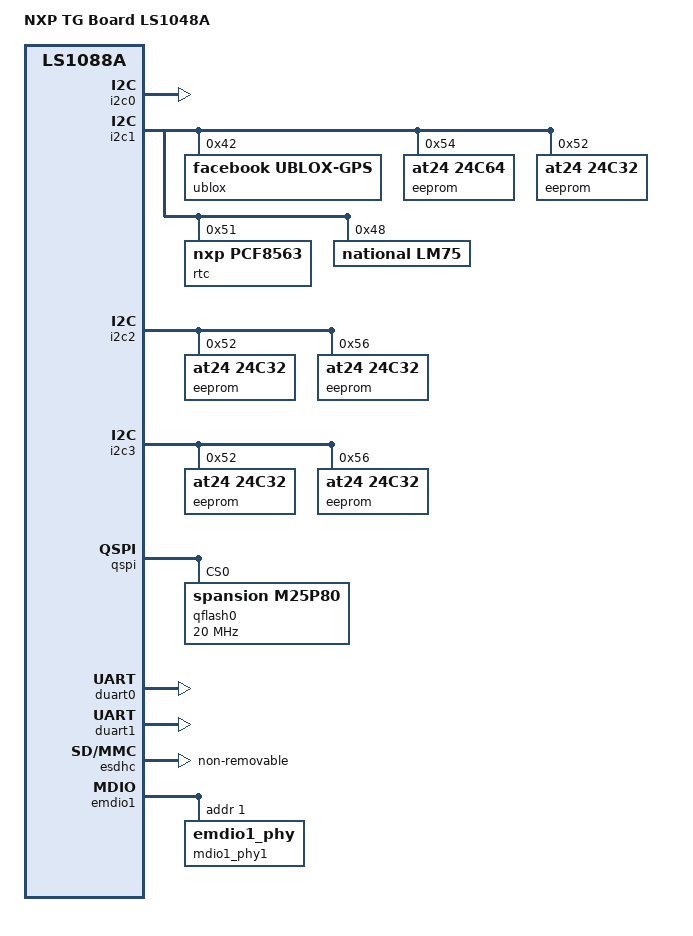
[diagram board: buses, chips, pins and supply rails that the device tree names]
/*
 * Device Tree file for NXP LS1088A RDB Board.
 *
 * Copyright 2017 NXP
 *
 * Harninder Rai <harninder.rai@nxp.com>
 *
 * This file is dual-licensed: you can use it either under the terms
 * of the GPLv2 or the X11 license, at your option. Note that this dual
 * licensing only applies to this file, and not this project as a
 * whole.
 *
 *  a) This library is free software; you can redistribute it and/or
 *     modify it under the terms of the GNU General Public License as
 *     published by the Free Software Foundation; either version 2 of the
 *     License, or (at your option) any later version.
 *
 *     This library is distributed in the hope that it will be useful,
 *     but WITHOUT ANY WARRANTY; without even the implied warranty of
 *     MERCHANTABILITY or FITNESS FOR A PARTICULAR PURPOSE.  See the
 *     GNU General Public License for more details.
 *
 * Or, alternatively,
 *
 *  b) Permission is hereby granted, free of charge, to any person
 *     obtaining a copy of this software and associated documentation
 *     files (the "Software"), to deal in the Software without
 *     restriction, including without limitation the rights to use,
 *     copy, modify, merge, publish, distribute, sublicense, and/or
 *     sell copies of the Software, and to permit persons to whom the
 *     Software is furnished to do so, subject to the following
 *     conditions:
 *
 *     The above copyright notice and this permission notice shall be
 *     included in all copies or substantial portions of the Software.
 *
 *     THE SOFTWARE IS PROVIDED "AS IS", WITHOUT WARRANTY OF ANY KIND,
 *     EXPRESS OR IMPLIED, INCLUDING BUT NOT LIMITED TO THE WARRANTIES
 *     OF MERCHANTABILITY, FITNESS FOR A PARTICULAR PURPOSE AND
 *     NONINFRINGEMENT. IN NO EVENT SHALL THE AUTHORS OR COPYRIGHT
 *     HOLDERS BE LIABLE FOR ANY CLAIM, DAMAGES OR OTHER LIABILITY,
 *     WHETHER IN AN ACTION OF CONTRACT, TORT OR OTHERWISE, ARISING
 *     FROM, OUT OF OR IN CONNECTION WITH THE SOFTWARE OR THE USE OR
 *     OTHER DEALINGS IN THE SOFTWARE.
 */

/dts-v1/;

#include "fsl-ls1048a.dtsi"

/ {
	model = "NXP TG Board LS1048A";
	compatible = "fsl,ls1088a-rdb", "fsl,ls1088a";

	chosen {
		bootargs = "iommu.passthrough=1 default_hugepagesz=2m hugepagesz=2m hugepages=512 pcie_aspm=off cma=512M crashkernel=32M@3G ";
		eeprom = "/sys/bus/nvmem/devices/1-00540/nvmem" ;
		bb1_eeprom = "/sys/bus/i2c/devices/1-0052/eeprom";
		bb2_eeprom = "/sys/bus/i2c/devices/2-0052/eeprom";
		bb3_eeprom = "/sys/bus/i2c/devices/3-0052/eeprom";
		bb4_eeprom = "/sys/bus/i2c/devices/3-0052/eeprom";
		sec2_eeprom = "/sys/bus/i2c/devices/2-0056/eeprom";
		sec3_eeprom = "/sys/bus/i2c/devices/3-0056/eeprom";
		sec4_eeprom = "/sys/bus/i2c/devices/3-0056/eeprom";
	};
};

&i2c0 {
	status = "okay";
};

&i2c1 {
	status = "okay";

	ublox@42 {
		compatible = "facebook,ublox-gps";
		reg = <0x42>;
	};

	eeprom@54 {
		compatible = "at24,24c64";
		reg = <0x54>;
	};

	eeprom@52 {
		compatible = "at24,24c32";
		reg = <0x52>;
	};

	rtc@51 {
		compatible = "nxp,pcf8563";
		reg = <0x51>;
	};

	lm75: lm75@48 {
		compatible = "national,lm75";
		reg = <0x48>;
	};

};

&i2c2 {
	status = "okay";

	eeprom@52 {
		compatible = "at24,24c32";
		reg = <0x52>;
	};

	eeprom@56 {
		compatible = "at24,24c32";
		reg = <0x56>;
	};
};

&i2c3 {
	status = "okay";

	eeprom@52 {
		compatible = "at24,24c32";
		reg = <0x52>;
	};

	eeprom@56 {
		compatible = "at24,24c32";
		reg = <0x56>;
	};
};

&qspi {
	status = "okay";
	qflash0: s25fs512s@0 {
		compatible = "spansion,m25p80";
		#address-cells = <1>;
		#size-cells = <1>;
		spi-max-frequency = <20000000>;
		spi-rx-bus-width = <1>;
		spi-tx-bus-width = <1>;
		reg = <0>;
	};
};

&ifc {
	status = "disabled";
};

&duart0 {
	status = "okay";
};

&duart1 {
	status = "okay";
};

&esdhc {
	status = "okay";
	non-removable;
};

&emdio1 {
	/* Freescale F104 PHY1 */
	mdio1_phy1: emdio1_phy@1 {
		reg = <0x1>;
		phy-connection-type = "sgmii";
	};
};

/* DPMAC connections to external PHYs
 * based on LS1088A RM RevC - $24.1.2 SerDes Options
 */
/* DPMAC2 is SFP+, fixed link */
&dpmac7 {
	phy-handle = <&mdio1_phy1>;
};
